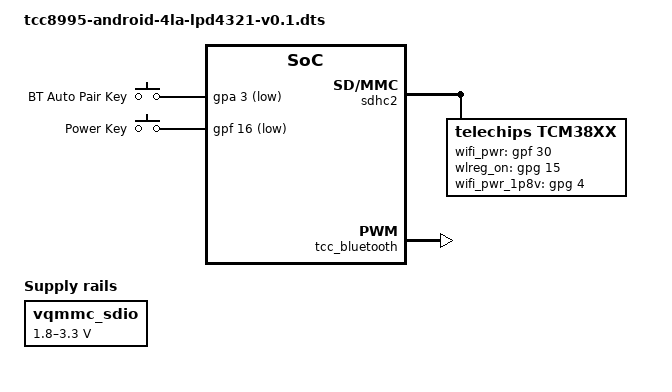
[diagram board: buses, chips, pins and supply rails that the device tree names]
// SPDX-License-Identifier: (GPL-2.0+ OR MIT)
/*
 * Device tree for Telechips TCC8990 STB board
 *
 * Copyright (C) 2018 Telechips Inc. - http://www.telechips.com
*/

#ifndef DT_OVERLAY
/dts-v1/;
#endif

#include "tcc8995-android-4la.dtsi"

#if 0   // 0 : force detect, 1 : not force detect
/* SDIO */
&sdhc2 {
	status = "okay";
	controller-id = <2>;
	bus-width = <4>;
	max-frequency = <200000000>;
	pinctrl-names = "default", "active";
	pinctrl-0 = <&sd2_1_idle>;
	pinctrl-1 = <&sd2_1_clk &sd2_1_cmd &sd2_1_bus4>;
	//channel-mux = <1>;

	cd-inverted;
	//wp-inverted;
	//non-removable;
	//broken-cd;
	keep-power-in-suspend;
	//enable-sdio-wakeup;
	//cap-power-off-card;
	cap-sdio-irq;
	cap2-no-sleep-cmd;
	cap-bus-width-test;

	//wp-gpios = <&gpb 7 0>;
	//cd-gpios = <&gpext1 5 0>;
	vctrl-gpio = <&gpc 25 0>;
	//pwr-gpio = <&gpext2 7 0>;

	//cd-polling;
	wifi-polling;

	/* High-speed SDR */
	//cap-sd-highspeed;
	//cap-mmc-highspeed;

	/* High-speed DDR(emmc & SD3.0 DDR50) */
	//cap-1-8V-ddr;
	//cap-uhs-ddr50;

	/* SD3.0 Common */
	cap-vdd-165-195;

	/* SD3.0 SDR12 */
	//cap-uhs-sdr12;

	/* SD3.0 SDR25 */
	//cap-uhs-sdr25;
	//cap-uhs-driver_type_a;

	/* SD3.0 SDR50 */
	//cap-uhs-sdr50;
	//cap-uhs-driver_type_c;

	/* SD3.0 SDR104 */
	cap-uhs-sdr104;
	cap-uhs-driver_type_d;
	cap-uhs-cmd23;
	cap-adma;

	/* eMMC HS200 */
	//mmc-hs200-1_8v;
	//cap-uhs-driver_type_d;
	//cap-uhs-cmd23;
	//cap-adma;
};

&tcm3800 {
	compatible = "telechips, tcm3800";
	wifi_pwr-gpio = <&gpf 30 0>;
	wlreg_on-gpio = <&gpg 15 0>;
	wifi_pwr_1p8v-gpio = <&gpg 4 0>;
	//wifi_pwr_3p3v-gpio = <&gpsd1 7 0>;
};
#else
&vqmmc_sdio {
	compatible = "regulator-gpio";
	regulator-name = "vqmmc_sdio";
	regulator-min-microvolt = <1800000>;
	regulator-max-microvolt = <3300000>;
	regulator-type = "voltage";
	regulator-ramp-delay = <10>;
	regulator-always-on;

	gpios = <&gpg 9 0x4>;	//SD_VOLCTL
	gpios-states = <0>;
	states = < 1800000 0x0 3300000 0x1>;
};

&sdhc2 {
	compatible = "telechips,tcc-sdhci";
	//tcc-mmc-channel-mux = <2>;
	//tcc-mmc-clk-out-tap = <29>;
	//tcc-mmc-cmd-tap = <4>;
	//tcc-mmc-data-tap = <4>;

	//non-removable;
	keep-power-in-suspend;
	cap-sdio-irq;

	pwr-gpio = <&gpa 5 0>;	//SD PWRCTL
	vqmmc-supply = <&vqmmc_sdio>;

	cd-force-presence-change;

	tcm38xx {
		compatible = "telechips,tcm38xx";
		wifi_pwr-gpio = <&gpf 30 0>;
		wlreg_on-gpio = <&gpg 15 0>;
		wifi_pwr_1p8v-gpio = <&gpg 4 0>;
		//wifi_pwr_3p3v-gpio = <&gpsd1 7 0>;
	};
};
#endif

&tcc_bluetooth {
	compatible = "telechips, tcc_bluetooth";
	bt_power-gpio = <&gpf 30 0>; /* BTWIFI_VBAT_EN */
	bt_reg_on-gpio = <&gpc 21 0>;
	bt_wake-gpio = <&gpc 20 0>;
	bt_hwake-gpio = <&gpc 22 0>;
	bt_power_1p8v-gpio = <&gpg 4 0>;
	status = "okay";
};

&gpio_keys_polled {
        compatible = "gpio-keys-polled";
        #address-cells = <1>;
        #size-cells = <0>;
        poll-interval = <100>;
        autorepeat;
        button@0 {
                label = "BT Auto Pair Key";
                linux,code = <218>;
                gpios = <&gpa 3 1>;
        };
        button@1 {
                label = "Power Key";
                linux,code = <116>;
                gpios = <&gpf 16 1>;
        };
};
